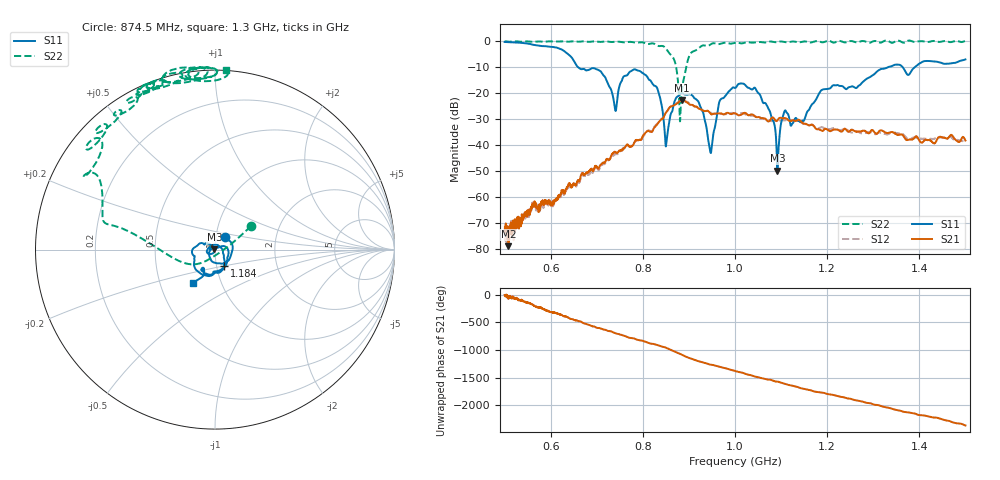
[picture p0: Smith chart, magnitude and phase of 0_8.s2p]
!Agilent Technologies,E8364B,US42250235,A.06.04.32
!Agilent E8364B: A.06.04.32
!Date: Thursday, October 01, 2020 15:46:54
!Correction: S11(Full 2 Port(1,2)) S21(Full 2 Port(1,2)) S12(Full 2 Port(1,2)) S22(Full 2 Port(1,2))
!S2P File: Measurements: S11, S21, S12, S22:
# Hz S  dB  R 50
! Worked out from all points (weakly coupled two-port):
!   2650 points, 500 MHz to 1.5 GHz, reference 50 ohm
!   highest |S21| = -22.68 dB at 885.4 MHz (marker M1); lowest = -78.8 dB at 508.3 MHz (marker M2)
!   lowest |S11| = -49.7 dB at 1.092 GHz (marker M3), VSWR 1.01, Z = 49.7 + j0.0903 ohm
!   |S11| at or under -10 dB: 660 MHz to 1.331 GHz (671.2 MHz wide, 67.4 % of centre); 1.364 GHz to 1.39 GHz (25.32 MHz wide, 1.84 % of centre)
!   |S22| runs from -30.8 to 0.4 dB; largest |S21 - S12| = 0.005
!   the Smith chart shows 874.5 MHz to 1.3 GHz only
!   S11 on the Smith chart (normalised r, x): 874.5 MHz: 1.10, +0.15; 1.184 GHz: 1.09, -0.20; 1.3 GHz: 0.73, -0.29
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5e8  -0.22 -175.0  -72.82 -6.9  -73.89 -28.3  0.04 143.7
5.08305e8  -0.27 -179.5  -78.76 -77.9  -72.92 -35.2  -0.10 143.9
6.109853e8  -2.32 112.2  -60.78 28.6  -61.29 23.6  -0.04 130.1
6.668554e8  -10.69 78.6  -50.95 -133.8  -51.69 -137.1  -0.03 125.3
7.397131e8  -26.23 64.9  -42.47 24.1  -43.36 23.3  -0.13 113.1
7.801057e8  -10.82 60.8  -39.51 -70.0  -39.47 -71.9  -0.37 111.4
8.337108e8  -19.49 -68.7  -31.33 163.9  -31.12 164.6  -1.78 85.6
8.510759e8  -38.95 -118.3  -27.20 116.7  -27.15 118.0  -2.97 74.6
8.744809e8  -21.28 51.7  -23.82 33.7  -23.62 35.3  -12.45 33.3
8.854285e8  -20.00 11.8  -22.68 -9.7  -22.49 -6.9  -17.87 -141.0
9.03171e8  -20.39 -41.9  -24.39 -70.5  -23.97 -70.0  -4.77 166.7
9.465836e8  -42.60 41.1  -27.75 175.3  -27.33 178.3  -1.21 136.3
9.681012e8  -22.48 -6.2  -27.69 133.4  -27.89 136.3  -0.94 132.9
1.000189e9  -17.92 -89.1  -27.65 59.8  -27.80 62.3  -0.54 124.1
1.050019e9  -19.76 168.5  -29.11 -51.1  -29.35 -51.3  -0.26 115.4
1.091921e9  -49.72 163.8  -30.44 -130.6  -30.67 -131.9  -0.21 110.4
1.107399e9  -26.87 -153.5  -29.49 -168.0  -30.38 -163.7  -0.25 115.6
1.166667e9  -24.27 -35.6  -32.00 66.0  -32.10 68.8  -0.36 103.1
1.184032e9  -19.54 -61.8  -33.94 34.6  -33.27 40.5  -0.11 107.5
1.299547e9  -13.01 -122.9  -34.28 179.5  -35.39 178.9  0.00 86.4
1.333522e9  -9.80 -148.5  -35.16 116.1  -35.60 120.8  0.09 98.4
1.5e9  -6.94 143.7  -38.11 157.0  -39.39 161.7  0.22 71.4
